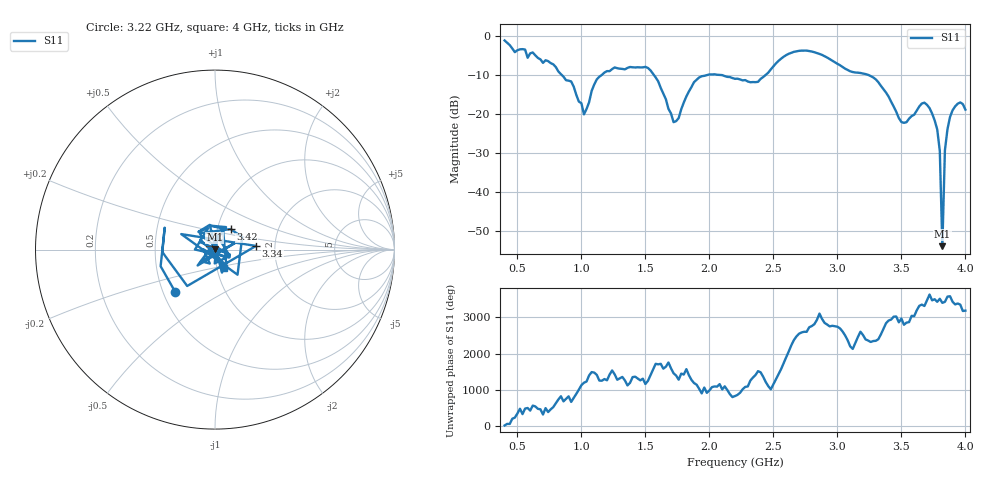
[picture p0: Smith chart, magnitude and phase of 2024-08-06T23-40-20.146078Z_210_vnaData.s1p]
!Created with skrf (http://scikit-rf.org).
# Hz S RI R 50.0
!freq ReS11 ImS11
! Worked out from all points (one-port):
!   181 points, 400 MHz to 4 GHz, reference 50 ohm
!   lowest |S11| = -53.8 dB at 3.82 GHz (marker M1), VSWR 1.00, Z = 49.8 + j0.101 ohm
!   |S11| at or under -10 dB: 1.566 GHz to 1.986 GHz (420 MHz wide, 23.6 % of centre); 2.078 GHz to 2.44 GHz (361.5 MHz wide, 16 % of centre); 3.241 GHz to end of sweep (the widest 3 of 4)
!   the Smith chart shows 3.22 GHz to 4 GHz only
!   S11 on the Smith chart (normalised r, x): 3.22 GHz: 0.58, -0.31; 3.34 GHz: 1.59, +0.07; 3.42 GHz: 1.16, +0.27; 4 GHz: 1.08, -0.22
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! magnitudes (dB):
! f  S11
! 400 MHz  -1.2
! 860 MHz  -10.4
! 920 MHz  -11.7
! 1.02 GHz  -20.1
! 1.12 GHz  -11.1
! 1.3 GHz  -8.4
! 1.52 GHz  -8.2
! 1.6 GHz  -11.7
! 1.72 GHz  -22.1
! 1.76 GHz  -21.0
! 1.92 GHz  -10.6
! 2.2 GHz  -11.0
! 2.38 GHz  -11.8
! 2.66 GHz  -4.1
! 3.1 GHz  -9.1
! 3.22 GHz  -9.8
! 3.34 GHz  -12.8
! 3.42 GHz  -16.9
! 3.5 GHz  -22.0
! 3.56 GHz  -21.2
! 3.68 GHz  -17.1
! 3.78 GHz  -23.9
! 3.8 GHz  -29.4
! 3.82 GHz  -53.8
! 3.84 GHz  -29.3
! 3.86 GHz  -23.9
! 3.92 GHz  -18.0
! 4 GHz  -18.9
